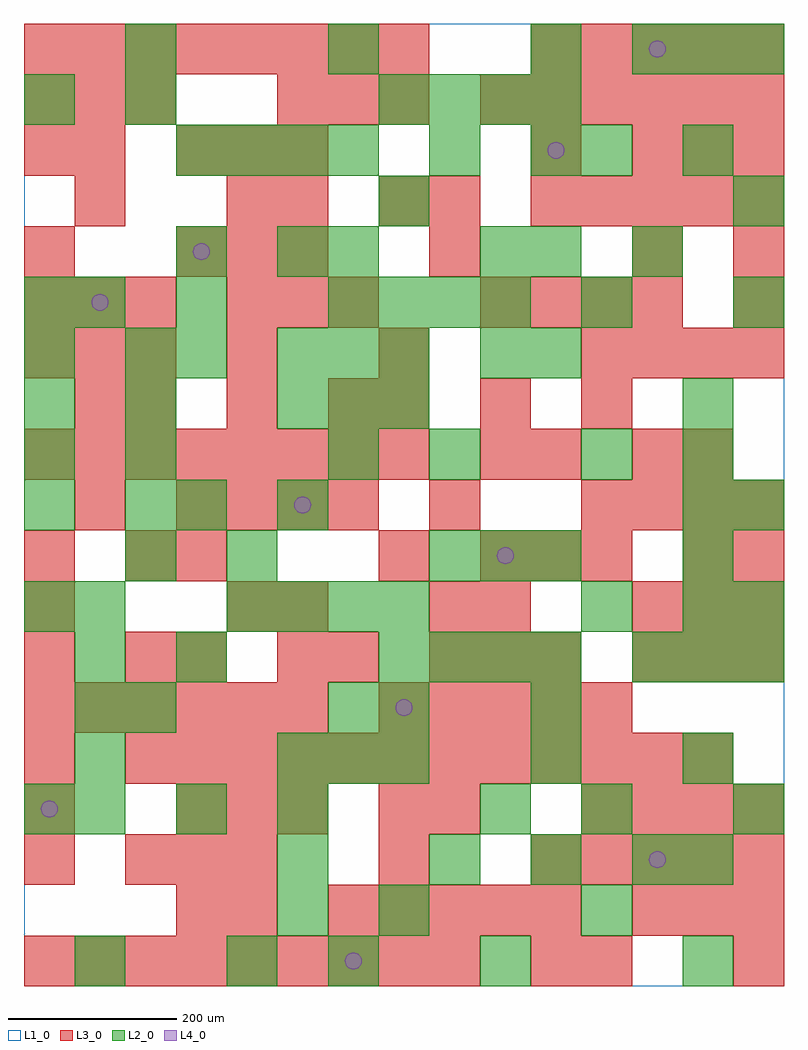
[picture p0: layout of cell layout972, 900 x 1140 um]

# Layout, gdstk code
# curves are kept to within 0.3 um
import gdstk
lib = gdstk.Library(unit=1e-6, precision=1e-09)
def R(c, l, rs):  # rectangles x0, y0, x1, y1
    for r in rs: c.add(gdstk.rectangle(r[:2], r[2:], *l))
def A(c, l, x, y, w, h, nx, ny, dx, dy):  # array of equal rectangles
    R(c, l, [(x+i*dx, y+j*dy, x+i*dx+w, y+j*dy+h) for i in range(nx) for j in range(ny)])
def P(c, l, *ps):  # polygons
    for p in ps: c.add(gdstk.Polygon(p, *l))
L1_0 = (1, 0)
L2_0 = (2, 0)
L3_0 = (3, 0)
L4_0 = (4, 0)

layout972 = lib.new_cell('layout972')
R(layout972, L1_0, [(0,0,900,1140)])
A(layout972, L2_0, 360, 0, 60, 60, 1, 3, 0, 300)
A(layout972, L2_0, 780, 0, 60, 60, 1, 3, 0, 120)
A(layout972, L2_0, 480, 120, 60, 60, 3, 1, 120, 0)
A(layout972, L2_0, 60, 180, 60, 60, 3, 1, 120, 0)
A(layout972, L2_0, 60, 240, 60, 60, 1, 4, 0, 60)
A(layout972, L2_0, 300, 240, 60, 60, 3, 2, 60, 420)
A(layout972, L2_0, 180, 360, 60, 60, 1, 3, 0, 180)
A(layout972, L2_0, 420, 360, 60, 60, 4, 2, 60, 660)
A(layout972, L2_0, 720, 360, 60, 60, 3, 2, 60, 720)
A(layout972, L2_0, 240, 420, 60, 60, 4, 1, 60, 0)
A(layout972, L2_0, 660, 420, 60, 60, 1, 4, 0, 180)
A(layout972, L2_0, 780, 420, 60, 60, 1, 5, 0, 60)
A(layout972, L2_0, 120, 480, 60, 60, 1, 5, 0, 60)
A(layout972, L2_0, 480, 480, 60, 60, 3, 1, 60, 0)
A(layout972, L2_0, 0, 540, 60, 60, 1, 5, 0, 60)
A(layout972, L2_0, 300, 720, 60, 60, 3, 1, 60, 0)
A(layout972, L2_0, 600, 720, 60, 60, 1, 3, 0, 120)
A(layout972, L2_0, 360, 780, 60, 60, 4, 1, 60, 0)
A(layout972, L2_0, 180, 960, 60, 60, 4, 1, 60, 0)
A(layout972, L2_0, 120, 1080, 60, 60, 3, 1, 240, 0)
R(layout972, L2_0, [(60,0,120,60), (240,0,300,60), (540,0,600,60), (300,60,360,120), (420,60,480,120), (660,60,720,120), (300,120,360,180), (0,180,60,240), (540,180,600,240), (660,180,720,240), (840,180,900,240), (600,240,660,300), (120,300,180,360), (420,300,480,360), (600,300,660,360), (0,420,60,480), (840,420,900,480), (240,480,300,540), (300,540,360,600), (840,540,900,600), (480,600,540,660), (540,720,600,780), (60,780,120,840), (180,780,240,840), (840,780,900,840), (180,840,240,900), (300,840,360,900), (360,840,420,900), (540,840,600,900), (720,840,780,900), (420,900,480,960), (840,900,900,960), (480,960,540,1020), (780,960,840,1020), (0,1020,60,1080), (120,1020,180,1080)])
A(layout972, L3_0, 0, 0, 60, 60, 9, 1, 60, 0)
A(layout972, L3_0, 360, 60, 60, 60, 5, 1, 60, 0)
A(layout972, L3_0, 720, 60, 60, 60, 3, 2, 60, 300)
A(layout972, L3_0, 0, 120, 60, 60, 1, 3, 0, 60)
A(layout972, L3_0, 120, 120, 60, 60, 3, 1, 60, 0)
A(layout972, L3_0, 600, 120, 60, 60, 5, 2, 60, 780)
A(layout972, L3_0, 180, 180, 60, 60, 3, 2, 60, 660)
A(layout972, L3_0, 660, 180, 60, 60, 4, 2, 60, 360)
A(layout972, L3_0, 120, 240, 60, 60, 12, 1, 60, 0)
A(layout972, L3_0, 0, 300, 60, 60, 6, 1, 60, 0)
A(layout972, L3_0, 420, 300, 60, 60, 5, 1, 60, 0)
A(layout972, L3_0, 0, 360, 60, 60, 1, 3, 0, 60)
A(layout972, L3_0, 480, 360, 60, 60, 3, 1, 60, 0)
A(layout972, L3_0, 720, 420, 60, 60, 3, 2, 60, 540)
A(layout972, L3_0, 540, 480, 60, 60, 3, 1, 60, 0)
A(layout972, L3_0, 180, 540, 60, 60, 4, 1, 60, 0)
A(layout972, L3_0, 0, 600, 60, 60, 8, 2, 60, 480)
A(layout972, L3_0, 120, 660, 60, 60, 3, 1, 120, 0)
A(layout972, L3_0, 420, 660, 60, 60, 3, 1, 120, 0)
A(layout972, L3_0, 0, 720, 60, 60, 3, 2, 60, 60)
A(layout972, L3_0, 660, 720, 60, 60, 4, 1, 60, 0)
A(layout972, L3_0, 240, 780, 60, 60, 3, 1, 60, 0)
A(layout972, L3_0, 540, 780, 60, 60, 4, 1, 60, 0)
A(layout972, L3_0, 180, 960, 60, 60, 3, 1, 60, 0)
A(layout972, L3_0, 0, 1020, 60, 60, 3, 1, 60, 0)
A(layout972, L3_0, 300, 1020, 60, 60, 3, 1, 60, 0)
A(layout972, L3_0, 540, 1020, 60, 60, 6, 1, 60, 0)
A(layout972, L3_0, 600, 1080, 60, 60, 5, 1, 60, 0)
R(layout972, L3_0, [(600,0,660,60), (660,0,720,60), (840,0,900,60), (180,60,240,120), (240,60,300,120), (420,120,480,180), (420,180,480,240), (480,180,540,240), (120,360,180,420), (180,360,240,420), (300,360,360,420), (360,360,420,420), (240,420,300,480), (300,420,360,480), (480,420,540,480), (540,420,600,480), (120,480,180,540), (180,480,240,540), (420,480,480,540), (780,480,840,540), (840,480,900,540), (60,540,120,600), (480,540,540,600), (540,600,600,660), (600,600,660,660), (720,600,780,660), (780,600,840,660), (60,660,120,720), (240,720,300,780), (420,720,480,780), (840,780,900,840), (0,840,60,900), (480,840,540,900), (720,840,780,900), (840,840,900,900), (60,900,120,960), (240,900,300,960), (300,900,360,960), (420,900,480,960), (480,900,540,960), (0,960,60,1020), (60,960,120,1020), (600,960,660,1020)])
P(layout972, L4_0, [(40,210),(39.239,213.827),(37.071,217.071),(33.827,219.239),(30,220),(26.173,219.239),(22.929,217.071),(20.761,213.827),(20,210),(20.761,206.173),(22.929,202.929),(26.173,200.761),(30,200),(33.827,200.761),(37.071,202.929),(39.239,206.173)],
  [(100,810),(99.239,813.827),(97.071,817.071),(93.827,819.239),(90,820),(86.173,819.239),(82.929,817.071),(80.761,813.827),(80,810),(80.761,806.173),(82.929,802.929),(86.173,800.761),(90,800),(93.827,800.761),(97.071,802.929),(99.239,806.173)],
  [(220,870),(219.239,873.827),(217.071,877.071),(213.827,879.239),(210,880),(206.173,879.239),(202.929,877.071),(200.761,873.827),(200,870),(200.761,866.173),(202.929,862.929),(206.173,860.761),(210,860),(213.827,860.761),(217.071,862.929),(219.239,866.173)],
  [(340,570),(339.239,573.827),(337.071,577.071),(333.827,579.239),(330,580),(326.173,579.239),(322.929,577.071),(320.761,573.827),(320,570),(320.761,566.173),(322.929,562.929),(326.173,560.761),(330,560),(333.827,560.761),(337.071,562.929),(339.239,566.173)],
  [(400,30),(399.239,33.827),(397.071,37.071),(393.827,39.239),(390,40),(386.173,39.239),(382.929,37.071),(380.761,33.827),(380,30),(380.761,26.173),(382.929,22.929),(386.173,20.761),(390,20),(393.827,20.761),(397.071,22.929),(399.239,26.173)],
  [(460,330),(459.239,333.827),(457.071,337.071),(453.827,339.239),(450,340),(446.173,339.239),(442.929,337.071),(440.761,333.827),(440,330),(440.761,326.173),(442.929,322.929),(446.173,320.761),(450,320),(453.827,320.761),(457.071,322.929),(459.239,326.173)],
  [(580,510),(579.239,513.827),(577.071,517.071),(573.827,519.239),(570,520),(566.173,519.239),(562.929,517.071),(560.761,513.827),(560,510),(560.761,506.173),(562.929,502.929),(566.173,500.761),(570,500),(573.827,500.761),(577.071,502.929),(579.239,506.173)],
  [(640,990),(639.239,993.827),(637.071,997.071),(633.827,999.239),(630,1000),(626.173,999.239),(622.929,997.071),(620.761,993.827),(620,990),(620.761,986.173),(622.929,982.929),(626.173,980.761),(630,980),(633.827,980.761),(637.071,982.929),(639.239,986.173)],
  [(760,150),(759.239,153.827),(757.071,157.071),(753.827,159.239),(750,160),(746.173,159.239),(742.929,157.071),(740.761,153.827),(740,150),(740.761,146.173),(742.929,142.929),(746.173,140.761),(750,140),(753.827,140.761),(757.071,142.929),(759.239,146.173)],
  [(760,1110),(759.239,1113.827),(757.071,1117.071),(753.827,1119.239),(750,1120),(746.173,1119.239),(742.929,1117.071),(740.761,1113.827),(740,1110),(740.761,1106.173),(742.929,1102.929),(746.173,1100.761),(750,1100),(753.827,1100.761),(757.071,1102.929),(759.239,1106.173)])

lib.write_gds('layout972.gds')
